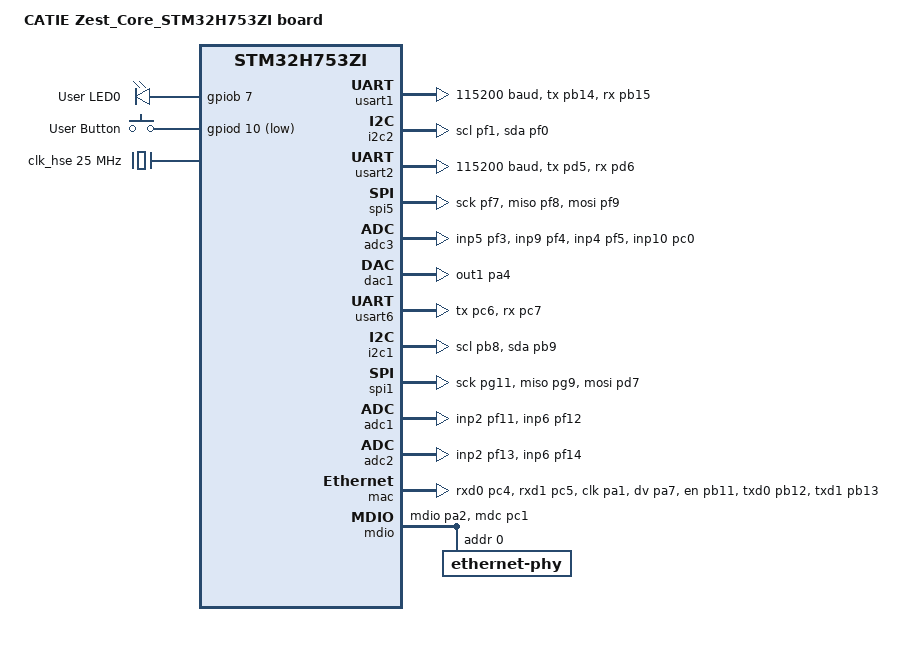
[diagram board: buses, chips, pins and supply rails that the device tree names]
/*
 * Copyright (c) 2024 CATIE
 * SPDX-License-Identifier: Apache-2.0
 */

/dts-v1/;
#include <st/h7/stm32h753Xi.dtsi>
#include <st/h7/stm32h753zitx-pinctrl.dtsi>
#include "sixtron_connector.dtsi"

/ {
	model = "CATIE Zest_Core_STM32H753ZI board";
	compatible = "catie,zest-core-stm32h753zi";

	chosen {
		zephyr,console = &usart1;
		zephyr,shell-uart = &usart1;
		zephyr,sram = &sram0;
		zephyr,flash = &flash0;
		zephyr,code-partition = &slot0_partition;
	};

	leds {
		compatible = "gpio-leds";
		led_0: led_0 {
			gpios = <&gpiob 7 GPIO_ACTIVE_HIGH>;
			label = "User LED0";
		};
	};

	gpio_keys {
		compatible = "gpio-keys";
		user_button: button {
			label = "User Button";
			gpios = <&gpiod 10 GPIO_ACTIVE_LOW>;
		};
	};

	aliases {
		led0 = &led_0;
		sw0 = &user_button;
	};
};

&flash0 {
	partitions {
		compatible = "fixed-partitions";
		#address-cells = <1>;
		#size-cells = <1>;

		/* 128KB for bootloader */
		boot_partition: partition@0 {
			label = "mcuboot";
			reg = <0x00000000 DT_SIZE_K(128)>;
			read-only;
		};

		/* storage: 128KB for settings */
		storage_partition: partition@20000 {
			label = "storage";
			reg = <0x00020000 DT_SIZE_K(128)>;
		};

		/* application image slot: 768KB */
		slot0_partition: partition@40000 {
			label = "image-0";
			reg = <0x00040000 DT_SIZE_K(768)>;
		};

		/* backup slot: 768KB */
		slot1_partition: partition@100000 {
			label = "image-1";
			reg = <0x00100000 DT_SIZE_K(768)>;
		};

		/* swap slot: 256KB */
		scratch_partition: partition@1c0000 {
			label = "image-scratch";
			reg = <0x001c0000 DT_SIZE_K(256)>;  
		};
	};
};

&clk_hsi48 {
	status = "okay";
};

&clk_hse {
	clock-frequency = <DT_FREQ_M(25)>;
	status = "okay";
};

&pll {
	div-m = <5>;
	mul-n = <192>;
	div-p = <2>;
	div-q = <2>;
	div-r = <2>;
	clocks = <&clk_hse>;
	status = "okay";
};

&rcc {
	clocks = <&pll>;
	clock-frequency = <DT_FREQ_M(480)>;
	d1cpre = <1>;
	hpre = <2>;
	d1ppre = <2>;
	d2ppre1 = <2>;
	d2ppre2 = <2>;
	d3ppre = <2>;
};

&usart1 {
	pinctrl-0 = <&usart1_tx_pb14 &usart1_rx_pb15>;
	pinctrl-names = "default";
	current-speed = <115200>;
	status = "okay";
};

&i2c2 {
	pinctrl-0 = <&i2c2_scl_pf1 &i2c2_sda_pf0>;
	pinctrl-names = "default";
	status = "okay";
};

&usart2 {
	pinctrl-0 = <&usart2_tx_pd5 &usart2_rx_pd6>;
	pinctrl-names = "default";
	current-speed = <115200>;
	status = "okay";
};

&spi5 {
	pinctrl-0 = <&spi5_sck_pf7 &spi5_miso_pf8 &spi5_mosi_pf9>;
	pinctrl-names = "default";
	cs-gpios = <&gpiof 6 GPIO_ACTIVE_LOW>;
	status = "okay";
};

&adc3 {
	pinctrl-0 = <&adc3_inp5_pf3 &adc3_inp9_pf4 &adc3_inp4_pf5 &adc3_inp10_pc0>;
	pinctrl-names = "default";
	st,adc-clock-source = <SYNC>;
	st,adc-prescaler = <4>;
	status = "okay";
};

&dac1 {
	pinctrl-0 = <&dac1_out1_pa4>;
	pinctrl-names = "default";
	status = "okay";
};

&usart6 {
	pinctrl-0 = <&usart6_tx_pc6 &usart6_rx_pc7>;
	pinctrl-names = "default";
	status = "okay";
};

&i2c1 {
	pinctrl-0 = <&i2c1_scl_pb8 &i2c1_sda_pb9>;
	pinctrl-names = "default";
	status = "okay";
};

&spi1 {
	pinctrl-0 = <&spi1_sck_pg11 &spi1_miso_pg9 &spi1_mosi_pd7>;
	pinctrl-names = "default";
	cs-gpios = <&gpiog 10 GPIO_ACTIVE_LOW>;
	status = "okay";
};

&adc1 {
	pinctrl-0 = <&adc1_inp2_pf11 &adc1_inp6_pf12>;
	pinctrl-names = "default";
	st,adc-clock-source = <SYNC>;
	st,adc-prescaler = <4>;
	status = "okay";
};

&adc2 {
	pinctrl-0 = <&adc2_inp2_pf13 &adc2_inp6_pf14>;
	pinctrl-names = "default";
	st,adc-clock-source = <SYNC>;
	st,adc-prescaler = <4>;
	status = "okay";
};

&mac {
	status = "okay";
	pinctrl-0 = <&eth_rxd0_pc4
		     &eth_rxd1_pc5
		     &eth_ref_clk_pa1
		     &eth_crs_dv_pa7
		     &eth_tx_en_pb11
		     &eth_txd0_pb12
		     &eth_txd1_pb13>;
	pinctrl-names = "default";
	status = "okay";
};

&mdio {
	status = "okay";
	pinctrl-0 = <&eth_mdio_pa2 &eth_mdc_pc1>;
	pinctrl-names = "default";

	ethernet-phy@0 {
		compatible = "ethernet-phy";
		reg = <0x00>;
		status = "okay";
	};
};
